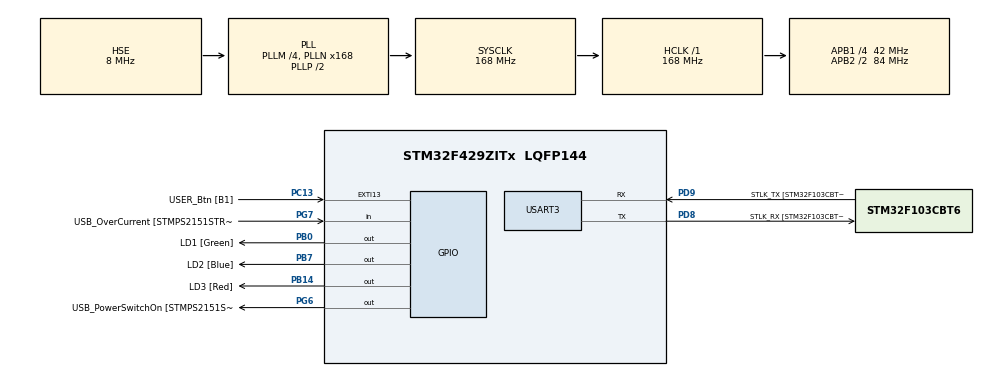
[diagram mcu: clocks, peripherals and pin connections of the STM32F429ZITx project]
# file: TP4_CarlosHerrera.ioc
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Mcu.Family=STM32F4
Mcu.Name=STM32F429ZITx
Mcu.Package=LQFP144
NVIC.PriorityGroup=NVIC_PRIORITYGROUP_4
NVIC.TIM1_UP_TIM10_IRQn=true\:15\:0\:false\:false\:true\:false\:true\:true
NVIC.TimeBase=TIM1_UP_TIM10_IRQn
NVIC.TimeBaseIP=TIM1
PA1.GPIO_Label=RMII_REF_CLK [LAN8742A-CZ-TR_REFCLK0]
PA1.Signal=ETH_REF_CLK
PA10.GPIO_Label=USB_ID
PA10.Signal=USB_OTG_FS_ID
PA11.GPIO_Label=USB_DM
PA11.Signal=USB_OTG_FS_DM
PA12.GPIO_Label=USB_DP
PA12.Signal=USB_OTG_FS_DP
PA13.GPIO_Label=TMS
PA13.Mode=Serial_Wire
PA13.Signal=SYS_JTMS-SWDIO
PA14.GPIO_Label=TCK
PA14.Mode=Serial_Wire
PA14.Signal=SYS_JTCK-SWCLK
PA2.GPIO_Label=RMII_MDIO [LAN8742A-CZ-TR_MDIO]
PA2.Signal=ETH_MDIO
PA7.GPIO_Label=RMII_CRS_DV [LAN8742A-CZ-TR_CRS_DV]
PA7.Signal=ETH_CRS_DV
PA8.GPIO_Label=USB_SOF [TP1]
PA8.Signal=USB_OTG_FS_SOF
PA9.GPIO_Label=USB_VBUS
PA9.Signal=USB_OTG_FS_VBUS
PB0.GPIO_Label=LD1 [Green]
PB0.Signal=GPIO_Output
PB13.GPIO_Label=RMII_TXD1 [LAN8742A-CZ-TR_TXD1]
PB13.Signal=ETH_TXD1
PB14.GPIO_Label=LD3 [Red]
PB14.Signal=GPIO_Output
PB7.GPIO_Label=LD2 [Blue]
PB7.Signal=GPIO_Output
PC1.GPIO_Label=RMII_MDC [LAN8742A-CZ-TR_MDC]
PC1.Signal=ETH_MDC
PC13.GPIO_Label=USER_Btn [B1]
PC13.Signal=GPXTI13
PC14/OSC32_IN.Mode=LSE-External-Oscillator
PC14/OSC32_IN.Signal=RCC_OSC32_IN
PC15/OSC32_OUT.Mode=LSE-External-Oscillator
PC15/OSC32_OUT.Signal=RCC_OSC32_OUT
PC4.GPIO_Label=RMII_RXD0 [LAN8742A-CZ-TR_RXD0]
PC4.Signal=ETH_RXD0
PC5.GPIO_Label=RMII_RXD1 [LAN8742A-CZ-TR_RXD1]
PC5.Signal=ETH_RXD1
PD8.GPIO_Label=STLK_RX [STM32F103CBT6_PA3]
PD8.Mode=Asynchronous
PD8.Signal=USART3_TX
PD9.GPIO_Label=STLK_TX [STM32F103CBT6_PA2]
PD9.Mode=Asynchronous
PD9.Signal=USART3_RX
PG11.GPIO_Label=RMII_TX_EN [LAN8742A-CZ-TR_TXEN]
PG11.Signal=ETH_TX_EN
PG13.GPIO_Label=RMII_TXD0 [LAN8742A-CZ-TR_TXD0]
PG13.Signal=ETH_TXD0
PG6.GPIO_Label=USB_PowerSwitchOn [STMPS2151STR_EN]
PG6.Signal=GPIO_Output
PG7.GPIO_Label=USB_OverCurrent [STMPS2151STR_FAULT]
PG7.Signal=GPIO_Input
PH0/OSC_IN.GPIO_Label=MCO [STM32F103CBT6_PA8]
PH0/OSC_IN.Mode=HSE-External-Clock-Source
PH0/OSC_IN.Signal=RCC_OSC_IN
PH1/OSC_OUT.Mode=HSE-External-Clock-Source
PH1/OSC_OUT.Signal=RCC_OSC_OUT
ProjectManager.HeapSize=0x200
ProjectManager.StackSize=0x400
ProjectManager.TargetToolchain=STM32CubeIDE
RCC.48MHZClocksFreq_Value=48000000
RCC.AHBFreq_Value=168000000
RCC.APB1CLKDivider=RCC_HCLK_DIV4
RCC.APB1Freq_Value=42000000
RCC.APB1TimFreq_Value=84000000
RCC.APB2CLKDivider=RCC_HCLK_DIV2
RCC.APB2Freq_Value=84000000
RCC.APB2TimCLKDivider=2
RCC.APB2TimFreq_Value=168000000
RCC.CortexFreq_Value=168000000
RCC.HCLKFreq_Value=168000000
RCC.HSE_VALUE=8000000
RCC.HSI_VALUE=16000000
RCC.PLLM=4
RCC.PLLMUL=RCC_PLL_MUL9
RCC.PLLN=168
RCC.PLLQ=7
RCC.PLLSourceVirtual=RCC_PLLSOURCE_HSE
RCC.PRESCALERUSB=RCC_USBCLKSOURCE_PLL_DIV1_5
RCC.SYSCLKFreq_VALUE=168000000
RCC.SYSCLKSource=RCC_SYSCLKSOURCE_PLLCLK
RCC.SYSCLKSourceVirtual=RCC_SYSCLKSOURCE_PLLCLK
RCC.USBFreq_Value=48000000
RCC.VCOOutputFreq_Value=336000000
USART3.VirtualMode=VM_ASYNC
VP_SYS_VS_tim1.Mode=TIM1
board=NUCLEO-F429ZI

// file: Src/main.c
/* USER CODE BEGIN Header */
/**
  ******************************************************************************
  * @file           : main.c
  * @brief          : Main program body
  ******************************************************************************
  * @attention
  *
  * Copyright (c) 2023 STMicroelectronics.
  * All rights reserved.
  *
  * This software is licensed under terms that can be found in the LICENSE file
  * in the root directory of this software component.
  * If no LICENSE file comes with this software, it is provided AS-IS.
  *
  ******************************************************************************
  */
/* USER CODE END Header */
#include "main.h"
#include "usart.h"
#include "gpio.h"

/* USER CODE BEGIN Includes */
#include "osKernel.h"
#include "osSemaphore.h"
#include "osQueue.h"
#include "osIRQ.h"
/* USER CODE END Includes */

/* USER CODE BEGIN PV */
osTaskObject osTask1;
osTaskObject osTask2;
osTaskObject osTask3;
osTaskObject osTask4;
osTaskObject osTask5;

uint32_t vt1 = 0;
uint32_t vt2 = 0;
uint32_t vt3 = 0;
uint32_t vt4 = 0;
uint32_t vt5 = 0;
uint32_t vtick = 0;
uint32_t vidle = 0;
uint32_t buffer_queue[10];
uint8_t vtIRQ = 0;

osSemaphoreObject osSemaphore1;

osQueueObject osQueue1;
/* USER CODE END PV */

void SystemClock_Config(void);
/* USER CODE BEGIN PFP */
static void task1(void);
static void task2(void);
static void task3(void);
static void task4(void);
static void task5(void);

void test_IRQ(void* dat);
/* USER CODE END PFP */

int main(void)
{

  /* MCU Configuration--------------------------------------------------------*/

  /* Reset of all peripherals, Initializes the Flash interface and the Systick. */
  HAL_Init();

  /* Configure the system clock */
  SystemClock_Config();

  /* Initialize all configured peripherals */
  MX_GPIO_Init();
  MX_USART3_UART_Init();
  /* USER CODE BEGIN 2 */
  HAL_GPIO_WritePin(LD1_GPIO_Port, LD1_Pin, GPIO_PIN_RESET);
  HAL_GPIO_WritePin(LD2_GPIO_Port, LD2_Pin, GPIO_PIN_RESET);
  HAL_GPIO_WritePin(LD3_GPIO_Port, LD3_Pin, GPIO_PIN_RESET);

  osTaskCreate(&osTask1, OS_VERYHIGH_PRIORITY, task1);
  osTaskCreate(&osTask2, OS_VERYHIGH_PRIORITY, task2);
  osTaskCreate(&osTask3, OS_VERYHIGH_PRIORITY, task3);
  osTaskCreate(&osTask4, OS_LOW_PRIORITY, task4);
  osTaskCreate(&osTask5, OS_LOW_PRIORITY, task5);

  osSemaphoreInit(&osSemaphore1, 1, 1);

  osQueueInit(&osQueue1,sizeof(uint32_t));

  osStart();
  /* USER CODE END 2 */

  /* Infinite loop */
  while (1)
  {

    /* USER CODE BEGIN 3 */
      __WFI();
  }
  /* USER CODE END 3 */
}

void SystemClock_Config(void)
{
  RCC_OscInitTypeDef RCC_OscInitStruct = {0};
  RCC_ClkInitTypeDef RCC_ClkInitStruct = {0};

  /** Configure the main internal regulator output voltage
  */
  __HAL_RCC_PWR_CLK_ENABLE();
  __HAL_PWR_VOLTAGESCALING_CONFIG(PWR_REGULATOR_VOLTAGE_SCALE1);

  /** Initializes the RCC Oscillators according to the specified parameters
  * in the RCC_OscInitTypeDef structure.
  */
  RCC_OscInitStruct.OscillatorType = RCC_OSCILLATORTYPE_HSE;
  RCC_OscInitStruct.HSEState = RCC_HSE_BYPASS;
  RCC_OscInitStruct.PLL.PLLState = RCC_PLL_ON;
  RCC_OscInitStruct.PLL.PLLSource = RCC_PLLSOURCE_HSE;
  RCC_OscInitStruct.PLL.PLLM = 4;
  RCC_OscInitStruct.PLL.PLLN = 168;
  RCC_OscInitStruct.PLL.PLLP = RCC_PLLP_DIV2;
  RCC_OscInitStruct.PLL.PLLQ = 7;
  if (HAL_RCC_OscConfig(&RCC_OscInitStruct) != HAL_OK)
  {
    Error_Handler();
  }

  /** Initializes the CPU, AHB and APB buses clocks
  */
  RCC_ClkInitStruct.ClockType = RCC_CLOCKTYPE_HCLK|RCC_CLOCKTYPE_SYSCLK
                              |RCC_CLOCKTYPE_PCLK1|RCC_CLOCKTYPE_PCLK2;
  RCC_ClkInitStruct.SYSCLKSource = RCC_SYSCLKSOURCE_PLLCLK;
  RCC_ClkInitStruct.AHBCLKDivider = RCC_SYSCLK_DIV1;
  RCC_ClkInitStruct.APB1CLKDivider = RCC_HCLK_DIV4;
  RCC_ClkInitStruct.APB2CLKDivider = RCC_HCLK_DIV2;

  if (HAL_RCC_ClockConfig(&RCC_ClkInitStruct, FLASH_LATENCY_5) != HAL_OK)
  {
    Error_Handler();
  }
}

/* USER CODE BEGIN 4 */

static void task1(void)
{
	uint8_t tempbuffer;
	bool_t auxflag=true;
//    uint32_t i = 0;
    osSemaphoreTake(&osSemaphore1);
    osSemaphoreTake(&osSemaphore1);

    while(1)
    {
        vt1++;
        osDelay(100);
        HAL_GPIO_TogglePin(LD2_GPIO_Port, LD2_Pin);
//        osQueueSend(&osQueue1, &vt1, 0);
        if (auxflag) {
            osQueueReceive(&osQueue1, (void*) &tempbuffer, 6000);
            auxflag=false;
		}
    }
}

static void task2(void)
{
//    uint32_t j = 0;

    while(1)
    {
    	vt2++;
        osDelay(1000);
        HAL_GPIO_TogglePin(LD3_GPIO_Port, LD3_Pin);
        osSemaphoreGive(&osSemaphore1);
    }
}

static void task3(void)
{
	uint8_t cont3 = 2;
//    uint32_t k = 0;
	osRegisterIRQ(EXTI15_10_IRQn, test_IRQ, (void*) &cont3);
    while(1)
    {
    	vt3++;
//        osDelay(4000);
//        for (int var = 0; var < 5; ++var) {
//            osQueueReceive(&osQueue1, &buffer_queue[var], 0);
//		}
//        HAL_GPIO_TogglePin(LD1_GPIO_Port, LD1_Pin);
    }
}

static void task4(void)
{
//    uint32_t m = 0;

    while(1)
    {
    	vt4++;
//        osDelay(30000);
    }
}

static void task5(void)
{
//    uint32_t n = 0;

    while(1)
    {
    	vt5++;
//        osDelay(30000);
    }
}

void osSysTickHook(void)
{
	vtick++;
}

void osIdleTask(void)
{
    while(1)
    {
    	vidle++;
    }
}

void test_IRQ(void* dat)
{
	/* EXTI line interrupt detected */
	if(__HAL_GPIO_EXTI_GET_IT(GPIO_PIN_13) != RESET)
	{
	__HAL_GPIO_EXTI_CLEAR_IT(GPIO_PIN_13);
	}

	vtIRQ= *(uint8_t *)dat;

	vtIRQ = vtIRQ + 0;
	vtIRQ = vtIRQ + 8;
	vtIRQ = vtIRQ + 10;
	vtIRQ = vtIRQ + 20;
}
/* USER CODE END 4 */

void HAL_TIM_PeriodElapsedCallback(TIM_HandleTypeDef *htim)
{
  if (htim->Instance == TIM1) {
    HAL_IncTick();
  }
}

void Error_Handler(void)
{
  __disable_irq();
  while (1)
  {
  }
}
